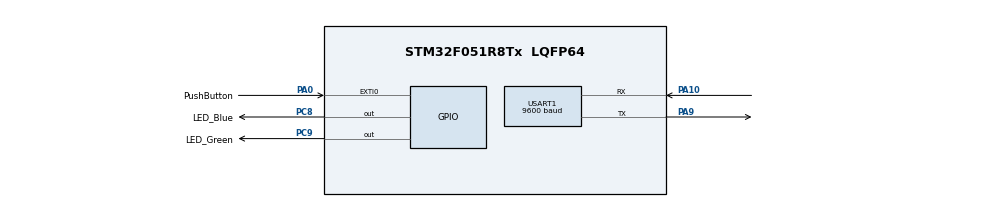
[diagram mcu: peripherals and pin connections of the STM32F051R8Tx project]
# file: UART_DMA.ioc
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Dma.Request0=USART1_TX
Dma.USART1_TX.0.Direction=DMA_MEMORY_TO_PERIPH
Dma.USART1_TX.0.Instance=DMA1_Channel2
Dma.USART1_TX.0.MemDataAlignment=DMA_MDATAALIGN_BYTE
Dma.USART1_TX.0.MemInc=DMA_MINC_ENABLE
Dma.USART1_TX.0.Mode=DMA_CIRCULAR
Dma.USART1_TX.0.PeriphDataAlignment=DMA_PDATAALIGN_BYTE
Dma.USART1_TX.0.PeriphInc=DMA_PINC_DISABLE
Dma.USART1_TX.0.Priority=DMA_PRIORITY_LOW
Mcu.Family=STM32F0
Mcu.Name=STM32F051R8Tx
Mcu.Package=LQFP64
NVIC.DMA1_Channel2_3_IRQn=true\:0\:0\:false\:false\:true\:false\:true\:true
NVIC.EXTI0_1_IRQn=true\:0\:0\:false\:false\:true\:true\:true\:true
NVIC.USART1_IRQn=true\:0\:0\:false\:false\:true\:true\:true\:true
PA0.GPIO_Label=PushButton
PA0.Signal=GPXTI0
PA10.Mode=Asynchronous
PA10.Signal=USART1_RX
PA9.Mode=Asynchronous
PA9.Signal=USART1_TX
PC8.GPIO_Label=LED_Blue
PC8.Signal=GPIO_Output
PC9.GPIO_Label=LED_Green
PC9.Signal=GPIO_Output
ProjectManager.HeapSize=0x200
ProjectManager.StackSize=0x400
ProjectManager.TargetToolchain=STM32CubeIDE
USART1.BaudRate=9600
USART1.VirtualMode-Asynchronous=VM_ASYNC
board=custom

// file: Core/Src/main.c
/* USER CODE BEGIN Header */
/**
  ******************************************************************************
  * @file           : main.c
  * @brief          : Main program body
  ******************************************************************************
  * @attention
  *
  * Copyright (c) 2024 STMicroelectronics.
  * All rights reserved.
  *
  * This software is licensed under terms that can be found in the LICENSE file
  * in the root directory of this software component.
  * If no LICENSE file comes with this software, it is provided AS-IS.
  *
  ******************************************************************************
  */
/* USER CODE END Header */
#include "main.h"

UART_HandleTypeDef huart1;
DMA_HandleTypeDef hdma_usart1_tx;

/* USER CODE BEGIN PV */

uint8_t counter_button = 0;
uint8_t tx_data_pushbutton[20];
uint8_t counter_periodic = 0;

uint8_t tx_data_dma[30] = {'\0'};
int is_sent_data_dma = 1;

/* USER CODE END PV */

void SystemClock_Config(void);
static void MX_GPIO_Init(void);
static void MX_DMA_Init(void);
static void MX_USART1_UART_Init(void);

int main(void)
{

  /* MCU Configuration--------------------------------------------------------*/

  /* Reset of all peripherals, Initializes the Flash interface and the Systick. */
  HAL_Init();

  /* Configure the system clock */
  SystemClock_Config();

  /* Initialize all configured peripherals */
  MX_GPIO_Init();
  MX_DMA_Init();
  MX_USART1_UART_Init();
  /* USER CODE BEGIN 2 */

  // LED ON on program start
  HAL_GPIO_TogglePin(GPIOC, LED_Green_Pin);
  // Send intial message through UART on program start
  uint8_t msg_init[] = "\n\rProgram started.";
  HAL_UART_Transmit(&huart1, msg_init, sizeof(msg_init), HAL_MAX_DELAY);

  /* USER CODE END 2 */

  /* Infinite loop */
  /* USER CODE BEGIN WHILE */
  while (1)
  {
	sprintf(tx_data_dma, "\n\rPeriodic Message: %d", counter_periodic);

	if (is_sent_data_dma == 1)
	{
		HAL_UART_Transmit_DMA(&huart1, tx_data_dma, sizeof(tx_data_dma));
		is_sent_data_dma = 0;
	}

	// HAL_UART_Transmit(&huart1, tx_data_buffer_for_dma_2, 10, HAL_MAX_DELAY);
	HAL_GPIO_TogglePin(GPIOC, LED_Green_Pin);
	counter_periodic++;
	HAL_Delay(1000);

    /* USER CODE END WHILE */

  }
}

void SystemClock_Config(void)
{
  RCC_OscInitTypeDef RCC_OscInitStruct = {0};
  RCC_ClkInitTypeDef RCC_ClkInitStruct = {0};
  RCC_PeriphCLKInitTypeDef PeriphClkInit = {0};

  /** Initializes the RCC Oscillators according to the specified parameters
  * in the RCC_OscInitTypeDef structure.
  */
  RCC_OscInitStruct.OscillatorType = RCC_OSCILLATORTYPE_HSI;
  RCC_OscInitStruct.HSIState = RCC_HSI_ON;
  RCC_OscInitStruct.HSICalibrationValue = RCC_HSICALIBRATION_DEFAULT;
  RCC_OscInitStruct.PLL.PLLState = RCC_PLL_NONE;
  if (HAL_RCC_OscConfig(&RCC_OscInitStruct) != HAL_OK)
  {
    Error_Handler();
  }

  /** Initializes the CPU, AHB and APB buses clocks
  */
  RCC_ClkInitStruct.ClockType = RCC_CLOCKTYPE_HCLK|RCC_CLOCKTYPE_SYSCLK
                              |RCC_CLOCKTYPE_PCLK1;
  RCC_ClkInitStruct.SYSCLKSource = RCC_SYSCLKSOURCE_HSI;
  RCC_ClkInitStruct.AHBCLKDivider = RCC_SYSCLK_DIV1;
  RCC_ClkInitStruct.APB1CLKDivider = RCC_HCLK_DIV1;

  if (HAL_RCC_ClockConfig(&RCC_ClkInitStruct, FLASH_LATENCY_0) != HAL_OK)
  {
    Error_Handler();
  }
  PeriphClkInit.PeriphClockSelection = RCC_PERIPHCLK_USART1;
  PeriphClkInit.Usart1ClockSelection = RCC_USART1CLKSOURCE_PCLK1;
  if (HAL_RCCEx_PeriphCLKConfig(&PeriphClkInit) != HAL_OK)
  {
    Error_Handler();
  }
}

static void MX_USART1_UART_Init(void)
{

  huart1.Instance = USART1;
  huart1.Init.BaudRate = 9600;
  huart1.Init.WordLength = UART_WORDLENGTH_8B;
  huart1.Init.StopBits = UART_STOPBITS_1;
  huart1.Init.Parity = UART_PARITY_NONE;
  huart1.Init.Mode = UART_MODE_TX_RX;
  huart1.Init.HwFlowCtl = UART_HWCONTROL_NONE;
  huart1.Init.OverSampling = UART_OVERSAMPLING_16;
  huart1.Init.OneBitSampling = UART_ONE_BIT_SAMPLE_DISABLE;
  huart1.AdvancedInit.AdvFeatureInit = UART_ADVFEATURE_NO_INIT;
  if (HAL_UART_Init(&huart1) != HAL_OK)
  {
    Error_Handler();
  }

}

static void MX_DMA_Init(void)
{

  /* DMA controller clock enable */
  __HAL_RCC_DMA1_CLK_ENABLE();

  /* DMA interrupt init */
  /* DMA1_Channel2_3_IRQn interrupt configuration */
  HAL_NVIC_SetPriority(DMA1_Channel2_3_IRQn, 0, 0);
  HAL_NVIC_EnableIRQ(DMA1_Channel2_3_IRQn);

}

static void MX_GPIO_Init(void)
{
  GPIO_InitTypeDef GPIO_InitStruct = {0};

  /* GPIO Ports Clock Enable */
  __HAL_RCC_GPIOA_CLK_ENABLE();
  __HAL_RCC_GPIOC_CLK_ENABLE();

  /*Configure GPIO pin Output Level */
  HAL_GPIO_WritePin(GPIOC, LED_Blue_Pin|LED_Green_Pin, GPIO_PIN_RESET);

  /*Configure GPIO pin : PushButton_Pin */
  GPIO_InitStruct.Pin = PushButton_Pin;
  GPIO_InitStruct.Mode = GPIO_MODE_IT_RISING;
  GPIO_InitStruct.Pull = GPIO_NOPULL;
  HAL_GPIO_Init(PushButton_GPIO_Port, &GPIO_InitStruct);

  /*Configure GPIO pins : LED_Blue_Pin LED_Green_Pin */
  GPIO_InitStruct.Pin = LED_Blue_Pin|LED_Green_Pin;
  GPIO_InitStruct.Mode = GPIO_MODE_OUTPUT_PP;
  GPIO_InitStruct.Pull = GPIO_NOPULL;
  GPIO_InitStruct.Speed = GPIO_SPEED_FREQ_LOW;
  HAL_GPIO_Init(GPIOC, &GPIO_InitStruct);

  /* EXTI interrupt init*/
  HAL_NVIC_SetPriority(EXTI0_1_IRQn, 0, 0);
  HAL_NVIC_EnableIRQ(EXTI0_1_IRQn);

}

/* USER CODE BEGIN 4 */

void HAL_GPIO_EXTI_Callback(uint16_t GPIO_Pin)
{
	HAL_GPIO_TogglePin(GPIOC, LED_Green_Pin);

	sprintf(tx_data_pushbutton, "Button counter: %d\n", counter_button);
	HAL_UART_Transmit(&huart1, tx_data_pushbutton, sizeof(tx_data_pushbutton), HAL_MAX_DELAY);

	counter_button++;
}

void HAL_UART_TxCpltCallback(UART_HandleTypeDef *huart)
{
	HAL_UART_DMAStop(&huart1);
	HAL_GPIO_TogglePin(GPIOC, LED_Blue_Pin);
	is_sent_data_dma = 1;
}

/* USER CODE END 4 */

void Error_Handler(void)
{
  __disable_irq();
  while (1)
  {
  }
}
